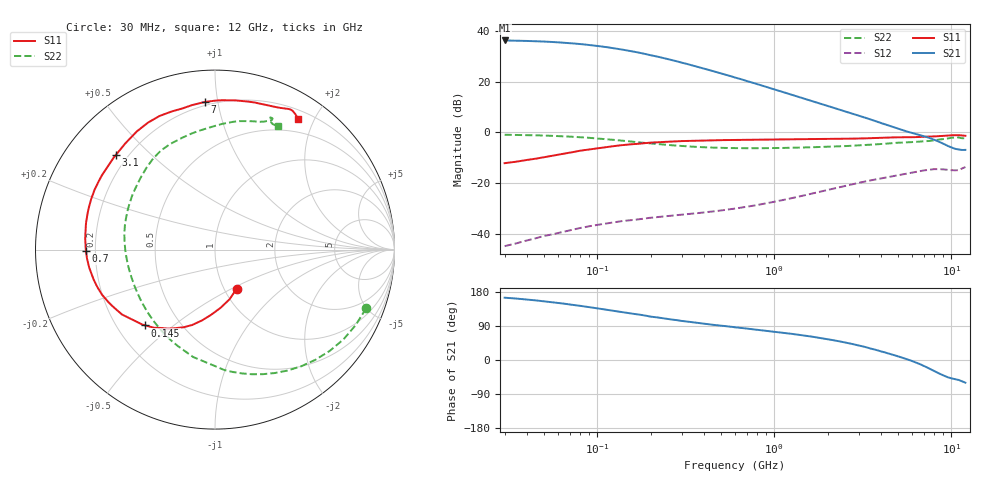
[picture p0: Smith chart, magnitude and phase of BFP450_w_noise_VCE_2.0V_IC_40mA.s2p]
! (c) 2015  Infineon Technologies AG, Munich
! Infineon Technologies  Discrete & RF Semiconductors
! BFP450
! VCE =  2.0 V,  IC =  40 mA
! Common Emitter S-Parameters:  Nov 2015
# GHz  S  MA  R  50
!  f  S11  S21  S12  S22
! GHz  MAG  ANG  MAG  ANG  MAG  ANG  MAG  ANG
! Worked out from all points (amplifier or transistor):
!   239 points, 30 MHz to 12 GHz, reference 50 ohm
!   highest |S21| = 36.2 dB at 30 MHz (marker M1)
!   |S21| within 3 dB of that: start of sweep to 122.5 MHz
!   unconditionally stable (mu >= 1): 1.258 GHz to end of sweep
!   at 300 MHz: K = 0.48, MSG = 29.9 dB, |S12| = -32.4 dB
!   at 1.88 GHz: K = 1.08, MAG = 15.3 dB, |S12| = -23.0 dB
!   at 12 GHz: K = 1.09, MAG = 1.5 dB, |S12| = -13.6 dB
!   lowest NFmin = 1.41 dB at 450 MHz
!   S11 on the Smith chart (normalised r, x): 30 MHz: 1.14, -0.53; 145 MHz: 0.32, -0.40; 700 MHz: 0.16, -0.01; 3.1 GHz: 0.16, +0.39; 7 GHz: 0.18, +0.92; 12 GHz: 0.32, +1.78
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0.03  0.2491 -61.2  64.71 164.4  0.0058 78.8  0.9033 -21.3
0.04  0.2879 -73.5  63.29 159.7  0.0075 75.8  0.8894 -28.3
0.05  0.3257 -84.5  61.63 154.9  0.0092 71.2  0.8729 -35.1
0.06  0.3648 -93.6  59.5 150.9  0.0105 68.1  0.8525 -41.5
0.07  0.4011 -100.4  57.27 146.5  0.0119 65.6  0.8303 -47.7
0.085  0.4511 -109.3  53.89 141.3  0.0137 61.0  0.7963 -56.2
0.11  0.5125 -120.8  48.44 133.3  0.016 55.9  0.7438 -68.9
0.13  0.552 -127.9  44.37 128.0  0.0174 52.4  0.7061 -77.7
0.145  0.5739 -132.6  41.61 124.6  0.0184 50.7  0.6806 -83.6
0.2  0.632 -145.1  33.18 114.5  0.021 46.1  0.6106 -101.5
0.24  0.6527 -151.2  28.84 109.6  0.0224 44.4  0.5757 -111.1
0.3  0.6779 -158.3  23.67 103.1  0.0241 43.3  0.5425 -123.2
0.36  0.6902 -163.4  20.05 98.6  0.0257 43.4  0.5218 -132.1
0.45  0.7022 -169.2  16.13 92.9  0.028 44.0  0.5045 -142.6
0.6  0.7147 -175.9  12.06 86.3  0.0319 46.0  0.4929 -154.5
0.7  0.7194 -179.4  10.28 82.8  0.0346 47.3  0.4908 -160.2
1  0.7281 172.5  7.034 74.6  0.0433 49.4  0.4943 -172.9
1.64  0.7429 159.8  4.136 61.5  0.063 48.6  0.5126 169.9
3.1  0.7637 136.3  2.07 36.8  0.1046 35.8  0.5596 142.4
4.5  0.7998 117.9  1.338 15.9  0.1343 21.8  0.6138 124.1
7  0.8247 93.9  0.846 -15.8  0.1796 -2.9  0.6675 97.9
12  0.8615 57.4  0.455 -59.9  0.2093 -41.3  0.7711 62.9
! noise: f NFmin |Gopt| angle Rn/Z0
0.45  1.41  0.49  -173  0.06
0.9  1.48  0.51  -169  0.07
1.9  1.59  0.57  -153  0.1
2.4  1.69  0.58  -145  0.12
